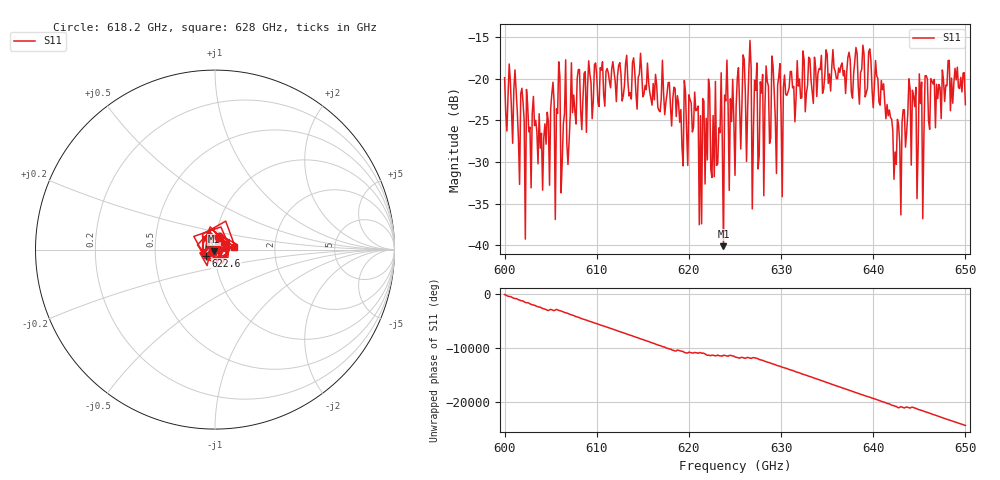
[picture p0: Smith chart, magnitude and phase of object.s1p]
!Created with skrf (http://scikit-rf.org).
# GHz S MA R 50.0
!freq magS11 angS11
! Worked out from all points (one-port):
!   401 points, 600 GHz to 650 GHz, reference 50 ohm
!   lowest |S11| = -40.1 dB at 623.8 GHz (marker M1), VSWR 1.02, Z = 49.5 - j0.843 ohm
!   |S11| at or under -10 dB: start of sweep to end of sweep
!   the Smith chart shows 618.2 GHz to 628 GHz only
!   S11 on the Smith chart (normalised r, x): 618.2 GHz: 1.03, +0.15; 622.6 GHz: 0.90, -0.06; 628 GHz: 1.23, +0.03
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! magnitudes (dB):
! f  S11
! 600 GHz  -19.9
! 602.5 GHz  -23.1
! 603.2 GHz  -25.6
! 603.9 GHz  -28.3
! 605.1 GHz  -21.8
! 606.2 GHz  -30.0
! 607.9 GHz  -20.0
! 612.5 GHz  -18.1
! 618.2 GHz  -22.4
! 618.8 GHz  -22.0
! 619.1 GHz  -23.7
! 620.8 GHz  -23.8
! 621.1 GHz  -37.5
! 622.1 GHz  -20.1
! 622.6 GHz  -24.4
! 623.8 GHz  -40.1
! 625 GHz  -31.6
! 626.5 GHz  -19.2
! 628 GHz  -19.5
! 631.2 GHz  -21.1
! 637.5 GHz  -17.7
! 639.6 GHz  -16.4
! 642.8 GHz  -25.5
! 643.8 GHz  -24.1
! 645.4 GHz  -36.8
! 645.8 GHz  -19.6
! 648 GHz  -20.8
! 650 GHz  -23.1
